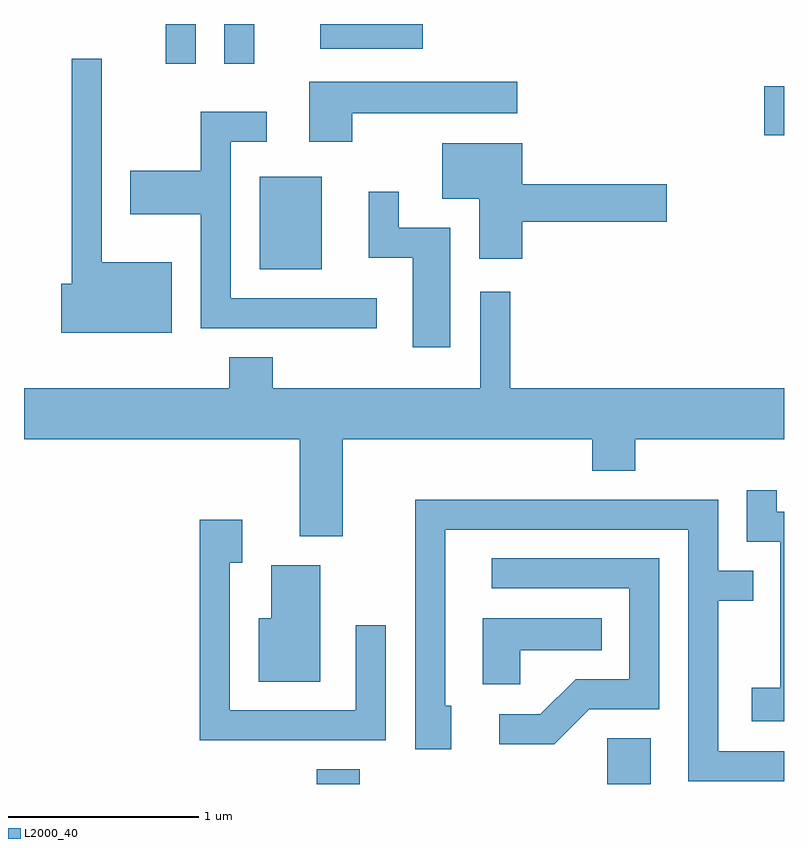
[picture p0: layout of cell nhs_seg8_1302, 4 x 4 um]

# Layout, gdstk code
import gdstk
lib = gdstk.Library(unit=1e-6, precision=1e-09)
def R(c, l, rs):  # rectangles x0, y0, x1, y1
    for r in rs: c.add(gdstk.rectangle(r[:2], r[2:], *l))
def P(c, l, *ps):  # polygons
    for p in ps: c.add(gdstk.Polygon(p, *l))
L2000_40 = (2000, 40)

nhs_seg8_1302 = lib.new_cell('nhs_seg8_1302')
R(nhs_seg8_1302, L2000_40, [(225.151,1872.342,225.379,1872.419), (226.681,1872.342,226.909,1872.584), (224.851,1875.051,225.179,1875.539), (227.506,1875.756,227.611,1876.014), (224.356,1876.133,224.514,1876.342), (224.666,1876.133,224.824,1876.342), (225.171,1876.211,225.709,1876.342)])
P(nhs_seg8_1302, L2000_40, [(224.389,1875.089),(224.019,1875.089),(224.019,1876.158),(223.861,1876.158),(223.861,1874.974),(223.806,1874.974),(223.806,1874.716),(224.389,1874.716)],
  [(225.339,1875.871),(226.208,1875.871),(226.208,1876.039),(225.111,1876.039),(225.111,1875.721),(225.339,1875.721)],
  [(225.468,1874.899),(224.699,1874.899),(224.699,1875.721),(224.888,1875.721),(224.888,1875.879),(224.541,1875.879),(224.541,1875.569),(224.171,1875.569),(224.171,1875.341),(224.541,1875.341),(224.541,1874.741),(225.468,1874.741)],
  [(226.234,1875.301),(226.994,1875.301),(226.994,1875.499),(226.234,1875.499),(226.234,1875.714),(225.811,1875.714),(225.811,1875.421),(226.006,1875.421),(226.006,1875.106),(226.234,1875.106)],
  [(225.854,1875.269),(225.584,1875.269),(225.584,1875.458),(225.426,1875.458),(225.426,1875.111),(225.656,1875.111),(225.656,1874.641),(225.854,1874.641)],
  [(225.289,1874.156),(226.601,1874.156),(226.601,1873.991),(226.829,1873.991),(226.829,1874.156),(227.611,1874.156),(227.611,1874.424),(226.169,1874.424),(226.169,1874.933),(226.011,1874.933),(226.011,1874.424),(224.919,1874.424),(224.919,1874.589),(224.691,1874.589),(224.691,1874.424),(223.611,1874.424),(223.611,1874.156),(225.061,1874.156),(225.061,1873.646),(225.289,1873.646)],
  [(227.611,1873.774),(227.574,1873.774),(227.574,1873.888),(227.416,1873.888),(227.416,1873.616),(227.591,1873.616),(227.591,1872.849),(227.441,1872.849),(227.441,1872.671),(227.611,1872.671)],
  [(227.611,1872.514),(227.264,1872.514),(227.264,1873.306),(227.448,1873.306),(227.448,1873.464),(227.264,1873.464),(227.264,1873.839),(225.671,1873.839),(225.671,1872.526),(225.859,1872.526),(225.859,1872.754),(225.829,1872.754),(225.829,1873.681),(227.106,1873.681),(227.106,1872.356),(227.611,1872.356)],
  [(225.514,1873.178),(225.356,1873.178),(225.356,1872.729),(224.694,1872.729),(224.694,1873.506),(224.759,1873.506),(224.759,1873.734),(224.536,1873.734),(224.536,1872.571),(225.514,1872.571)],
  [(226.587,1872.736),(226.954,1872.736),(226.954,1873.529),(226.073,1873.529),(226.073,1873.371),(226.796,1873.371),(226.796,1872.894),(226.514,1872.894),(226.329,1872.709),(226.113,1872.709),(226.113,1872.551),(226.402,1872.551)],
  [(225.169,1873.494),(224.911,1873.494),(224.911,1873.214),(224.846,1873.214),(224.846,1872.881),(225.169,1872.881)],
  [(226.224,1873.046),(226.653,1873.046),(226.653,1873.214),(226.026,1873.214),(226.026,1872.866),(226.224,1872.866)])

lib.write_gds('nhs_seg8_1302.gds')
